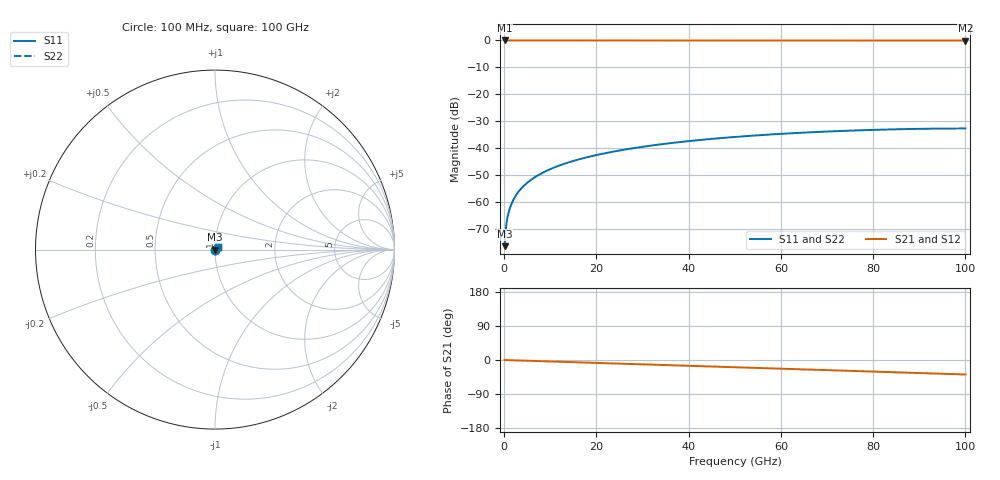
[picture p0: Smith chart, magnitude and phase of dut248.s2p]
! Touchstone file exported from HFSS 2026.1.0
!  File:  C:/ffzhzh/LocalFiles/Ansys_Project_Files/temp_train_TSV_248_1783508292_44152.aedt
!  Generated:  06:59:30 PM Jul  8, 2026
!  Design:  TSV
!  Project:  temp_train_TSV_248_1783508292_44152
! Variables:
!  h_bsmrdl = 2um
!  h_ox = 20um
!  h_rdl = 5um
!  h_sub = 76.33um
!  h_tmrdl = 5um
!  h_tsv = 76.33um
!  h_via = 3um
!  l_bsmrdl = 300um
!  l_sub = 419.52um
!  l_tmrdl = 200um
!  m_sub = 200um
!  pitch = 41.88um
!  r_tsv = 9.76um
!  s_tmrdl = 10um
!  w_bsmrdl = 18um
!  w_sub = 500um
!  w_tmrdl = 12um
!  x_tsv_center1 = 206um
!  x_tsv_center2 = 524um
!  x_tsv_center3 = 736um
!  x_tsv_center4 = 1054um
!  x_tsv_center5 = 1266um
!  x_tsv_center6 = 1584um
# GHz S MA R 50.000000
! Terminal data exported
! Port[1] = TSV1_1_T1
! Port[2] = TSV1_1_T2
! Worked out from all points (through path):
!   1000 points, 100 MHz to 100 GHz, reference 50 ohm
!   highest |S21| = 0.00 dB at 100 MHz (marker M1); lowest = 0.0 dB at 100 GHz (marker M2)
!   group delay of S21, straight-line fit = 1.06 ps
!   lowest |S11| = -76.5 dB at 100 MHz (marker M3), VSWR 1.00, Z = 50 + j0.00782 ohm
!   |S11| at or under -10 dB: start of sweep to end of sweep
!   |S22| runs from -76.5 to -32.7 dB; largest |S21 - S12| = 5e-15
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0.1  0.0001499 31.4  0.9999 -0.0  0.9999 -0.0  0.0001499 31.4
! Gamma 0 0 0 0
! Port Impedance 50 0 50 0
0.4  0.0003349 57.5  0.9998 -0.2  0.9998 -0.2  0.0003349 57.5
0.8  0.0005507 62.3  0.9997 -0.3  0.9997 -0.3  0.0005507 62.3
1.1  0.000692 64.4  0.9997 -0.4  0.9997 -0.4  0.000692 64.4
1.4  0.0008271 65.9  0.9997 -0.5  0.9997 -0.5  0.0008271 65.9
1.9  0.001045 67.7  0.9996 -0.7  0.9996 -0.7  0.001045 67.7
2.5  0.001296 69.1  0.9996 -1.0  0.9996 -1.0  0.001296 69.1
3.2  0.001575 70.1  0.9995 -1.2  0.9995 -1.2  0.001575 70.1
4  0.001883 71.0  0.9994 -1.5  0.9994 -1.5  0.001883 71.0
5  0.002257 71.9  0.9994 -1.9  0.9994 -1.9  0.002257 71.9
6.2  0.002697 72.6  0.9993 -2.4  0.9993 -2.4  0.002697 72.6
9  0.0037 73.3  0.9991 -3.5  0.9991 -3.5  0.0037 73.3
12.5  0.004916 73.3  0.999 -4.8  0.999 -4.8  0.004917 73.3
16.8  0.006358 72.9  0.9988 -6.4  0.9988 -6.4  0.006358 72.9
20.3  0.007501 72.3  0.9987 -7.8  0.9987 -7.8  0.007501 72.3
24.3  0.00878 71.5  0.9985 -9.3  0.9985 -9.3  0.00878 71.5
33.4  0.01156 69.1  0.9983 -12.8  0.9983 -12.8  0.01156 69.1
41.3  0.01381 66.7  0.9981 -15.8  0.9981 -15.8  0.01381 66.7
50.1  0.0161 63.8  0.9978 -19.1  0.9978 -19.1  0.0161 63.8
66.7  0.01968 58.1  0.9974 -25.5  0.9974 -25.5  0.01968 58.0
83.4  0.02216 52.0  0.9971 -31.8  0.9971 -31.8  0.02216 51.9
100  0.0231 45.8  0.9967 -38.2  0.9967 -38.2  0.0231 45.7
